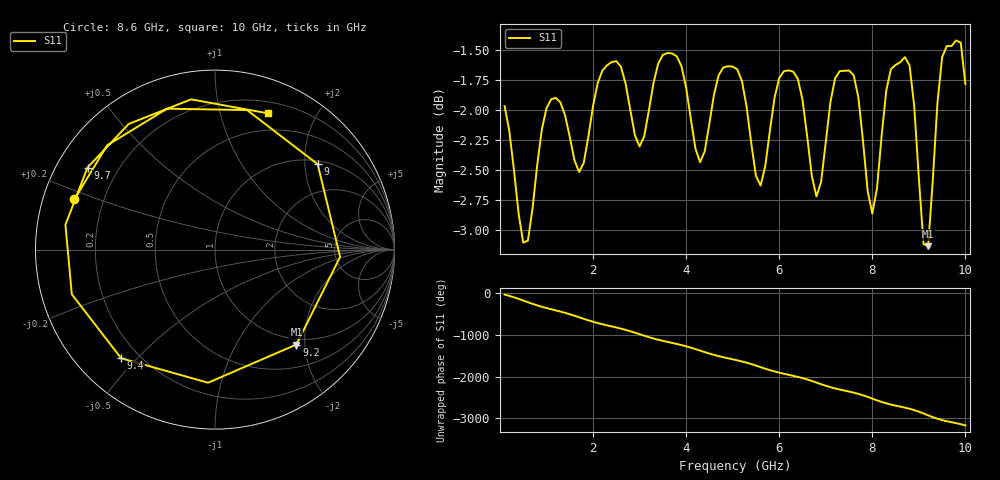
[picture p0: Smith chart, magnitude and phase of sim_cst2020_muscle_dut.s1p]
! Created with skrf 1.12.0 (http://scikit-rf.org).
# Hz S RI R 50.0
!freq ReS11 ImS11
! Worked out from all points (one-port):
!   100 points, 100 MHz to 10 GHz, reference 50 ohm
!   lowest |S11| = -3.1 dB at 9.2 GHz (marker M1), VSWR 5.60, Z = 44.5 - j91.5 ohm
!   |S11| at or under -10 dB: nowhere
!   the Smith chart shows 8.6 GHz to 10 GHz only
!   S11 on the Smith chart (normalised r, x): 8.6 GHz: 0.09, +0.17; 9 GHz: 1.09, +2.32; 9.2 GHz: 0.89, -1.83; 9.4 GHz: 0.13, -0.45; 9.7 GHz: 0.09, +0.29; 10 GHz: 0.31, +1.41
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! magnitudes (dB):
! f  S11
! 100 MHz  -2.0
! 500 MHz  -3.1
! 1 GHz  -2.0
! 1.4 GHz  -2.0
! 1.7 GHz  -2.5
! 2.2 GHz  -1.7
! 2.6 GHz  -1.6
! 3 GHz  -2.3
! 3.4 GHz  -1.6
! 3.9 GHz  -1.6
! 4.3 GHz  -2.4
! 4.7 GHz  -1.7
! 5.1 GHz  -1.7
! 5.6 GHz  -2.6
! 6 GHz  -1.7
! 6.3 GHz  -1.7
! 6.8 GHz  -2.7
! 7.2 GHz  -1.7
! 7.6 GHz  -1.7
! 8 GHz  -2.9
! 8.3 GHz  -1.8
! 8.6 GHz  -1.6
! 8.8 GHz  -1.6
! 9 GHz  -2.6
! 9.2 GHz  -3.1
! 9.4 GHz  -1.9
! 9.7 GHz  -1.5
! 10 GHz  -1.8
